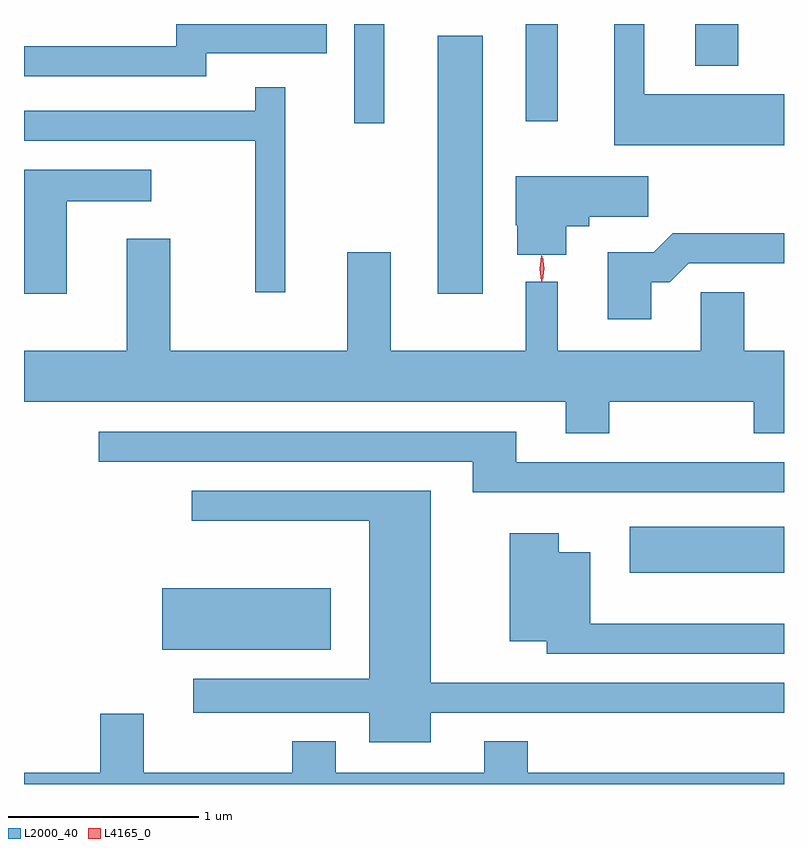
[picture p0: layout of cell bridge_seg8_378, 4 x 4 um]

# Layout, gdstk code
import gdstk
lib = gdstk.Library(unit=1e-6, precision=1e-09)
def R(c, l, rs):  # rectangles x0, y0, x1, y1
    for r in rs: c.add(gdstk.rectangle(r[:2], r[2:], *l))
def P(c, l, *ps):  # polygons
    for p in ps: c.add(gdstk.Polygon(p, *l))
L2000_40 = (2000, 40)
L4165_0 = (4165, 0)

bridge_seg8_378 = lib.new_cell('bridge_seg8_378')
R(bridge_seg8_378, L2000_40, [(724.406,1932.791,725.294,1933.114), (726.866,1933.196,727.679,1933.439), (725.856,1934.666,726.094,1936.024), (725.416,1935.563,725.574,1936.085), (726.321,1935.573,726.489,1936.085), (727.211,1935.866,727.439,1936.085)])
P(bridge_seg8_378, L2000_40, [(724.639,1935.931),(725.273,1935.931),(725.273,1936.085),(724.481,1936.085),(724.481,1935.969),(723.679,1935.969),(723.679,1935.811),(724.639,1935.811)],
  [(727.679,1935.714),(726.944,1935.714),(726.944,1936.085),(726.786,1936.085),(726.786,1935.446),(727.679,1935.446)],
  [(725.054,1935.753),(724.896,1935.753),(724.896,1935.629),(723.679,1935.629),(723.679,1935.471),(724.896,1935.471),(724.896,1934.673),(725.054,1934.673)],
  [(723.904,1935.151),(724.348,1935.151),(724.348,1935.319),(723.679,1935.319),(723.679,1934.666),(723.904,1934.666)],
  [(726.534,1935.021),(726.654,1935.021),(726.654,1935.071),(726.964,1935.071),(726.964,1935.284),(726.266,1935.284),(726.266,1935.025),(726.276,1935.025),(726.276,1934.871),(726.534,1934.871)],
  [(726.979,1934.726),(727.077,1934.726),(727.177,1934.826),(727.679,1934.826),(727.679,1934.984),(727.094,1934.984),(726.994,1934.884),(726.751,1934.884),(726.751,1934.531),(726.979,1934.531)],
  [(726.759,1934.096),(727.521,1934.096),(727.521,1933.931),(727.679,1933.931),(727.679,1934.364),(727.469,1934.364),(727.469,1934.674),(727.241,1934.674),(727.241,1934.364),(726.489,1934.364),(726.489,1934.728),(726.321,1934.728),(726.321,1934.364),(725.609,1934.364),(725.609,1934.884),(725.381,1934.884),(725.381,1934.364),(724.449,1934.364),(724.449,1934.954),(724.221,1934.954),(724.221,1934.364),(723.679,1934.364),(723.679,1934.096),(726.531,1934.096),(726.531,1933.931),(726.759,1933.931)],
  [(727.679,1933.779),(726.269,1933.779),(726.269,1933.939),(724.073,1933.939),(724.073,1933.781),(726.041,1933.781),(726.041,1933.621),(727.679,1933.621)],
  [(725.819,1932.461),(727.679,1932.461),(727.679,1932.619),(725.819,1932.619),(725.819,1933.629),(724.563,1933.629),(724.563,1933.471),(725.496,1933.471),(725.496,1932.639),(724.571,1932.639),(724.571,1932.461),(725.496,1932.461),(725.496,1932.306),(725.819,1932.306)],
  [(727.679,1932.929),(726.659,1932.929),(726.659,1933.304),(726.494,1933.304),(726.494,1933.404),(726.236,1933.404),(726.236,1932.836),(726.431,1932.836),(726.431,1932.771),(727.679,1932.771)],
  [(727.679,1932.144),(726.329,1932.144),(726.329,1932.309),(726.101,1932.309),(726.101,1932.144),(725.319,1932.144),(725.319,1932.309),(725.091,1932.309),(725.091,1932.144),(724.309,1932.144),(724.309,1932.454),(724.081,1932.454),(724.081,1932.144),(723.679,1932.144),(723.679,1932.085),(727.679,1932.085)])
P(bridge_seg8_378, L4165_0, [(726.403,1934.73),(726.402,1934.731),(726.393,1934.798),(726.402,1934.866),(726.403,1934.866),(726.403,1934.866),(726.413,1934.798),(726.403,1934.731)],
  [(726.408,1934.734),(726.408,1934.734),(726.398,1934.798),(726.408,1934.862),(726.408,1934.862),(726.409,1934.862),(726.418,1934.798),(726.409,1934.734)])

lib.write_gds('bridge_seg8_378.gds')
